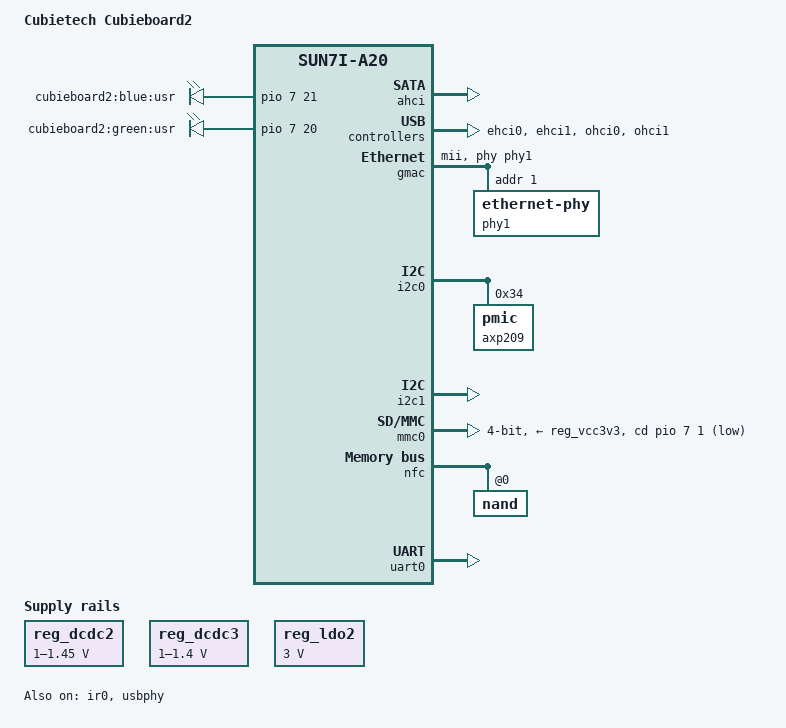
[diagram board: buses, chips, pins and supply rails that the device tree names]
/*
 * Copyright 2013 Maxime Ripard
 *
 * Maxime Ripard <maxime.ripard@free-electrons.com>
 *
 * This file is dual-licensed: you can use it either under the terms
 * of the GPL or the X11 license, at your option. Note that this dual
 * licensing only applies to this file, and not this project as a
 * whole.
 *
 *  a) This file is free software; you can redistribute it and/or
 *     modify it under the terms of the GNU General Public License as
 *     published by the Free Software Foundation; either version 2 of the
 *     License, or (at your option) any later version.
 *
 *     This file is distributed in the hope that it will be useful,
 *     but WITHOUT ANY WARRANTY; without even the implied warranty of
 *     MERCHANTABILITY or FITNESS FOR A PARTICULAR PURPOSE.  See the
 *     GNU General Public License for more details.
 *
 * Or, alternatively,
 *
 *  b) Permission is hereby granted, free of charge, to any person
 *     obtaining a copy of this software and associated documentation
 *     files (the "Software"), to deal in the Software without
 *     restriction, including without limitation the rights to use,
 *     copy, modify, merge, publish, distribute, sublicense, and/or
 *     sell copies of the Software, and to permit persons to whom the
 *     Software is furnished to do so, subject to the following
 *     conditions:
 *
 *     The above copyright notice and this permission notice shall be
 *     included in all copies or substantial portions of the Software.
 *
 *     THE SOFTWARE IS PROVIDED "AS IS", WITHOUT WARRANTY OF ANY KIND,
 *     EXPRESS OR IMPLIED, INCLUDING BUT NOT LIMITED TO THE WARRANTIES
 *     OF MERCHANTABILITY, FITNESS FOR A PARTICULAR PURPOSE AND
 *     NONINFRINGEMENT. IN NO EVENT SHALL THE AUTHORS OR COPYRIGHT
 *     HOLDERS BE LIABLE FOR ANY CLAIM, DAMAGES OR OTHER LIABILITY,
 *     WHETHER IN AN ACTION OF CONTRACT, TORT OR OTHERWISE, ARISING
 *     FROM, OUT OF OR IN CONNECTION WITH THE SOFTWARE OR THE USE OR
 *     OTHER DEALINGS IN THE SOFTWARE.
 */

/dts-v1/;
#include "sun7i-a20.dtsi"
#include "sunxi-common-regulators.dtsi"

#include <dt-bindings/gpio/gpio.h>
#include <dt-bindings/interrupt-controller/irq.h>
#include <dt-bindings/pinctrl/sun4i-a10.h>

/ {
	model = "Cubietech Cubieboard2";
	compatible = "cubietech,cubieboard2", "allwinner,sun7i-a20";

	aliases {
		serial0 = &uart0;
	};

	chosen {
		stdout-path = "serial0:115200n8";
	};

	leds {
		compatible = "gpio-leds";
		pinctrl-names = "default";
		pinctrl-0 = <&led_pins_cubieboard2>;

		blue {
			label = "cubieboard2:blue:usr";
			gpios = <&pio 7 21 GPIO_ACTIVE_HIGH>;
		};

		green {
			label = "cubieboard2:green:usr";
			gpios = <&pio 7 20 GPIO_ACTIVE_HIGH>;
		};
	};
};

&ahci {
	target-supply = <&reg_ahci_5v>;
	status = "okay";
};

&cpu0 {
	cpu-supply = <&reg_dcdc2>;
};

&ehci0 {
	status = "okay";
};

&ehci1 {
	status = "okay";
};

&gmac {
	pinctrl-names = "default";
	pinctrl-0 = <&gmac_pins_mii_a>;
	phy = <&phy1>;
	phy-mode = "mii";
	status = "okay";

	phy1: ethernet-phy@1 {
		reg = <1>;
	};
};

&i2c0 {
	pinctrl-names = "default";
	pinctrl-0 = <&i2c0_pins_a>;
	status = "okay";

	axp209: pmic@34 {
		reg = <0x34>;
		interrupt-parent = <&nmi_intc>;
		interrupts = <0 IRQ_TYPE_LEVEL_LOW>;
	};
};

&i2c1 {
	pinctrl-names = "default";
	pinctrl-0 = <&i2c1_pins_a>;
	status = "okay";
};

&ir0 {
	pinctrl-names = "default";
	pinctrl-0 = <&ir0_rx_pins_a>;
	status = "okay";
};

&mmc0 {
	pinctrl-names = "default";
	pinctrl-0 = <&mmc0_pins_a>, <&mmc0_cd_pin_reference_design>;
	vmmc-supply = <&reg_vcc3v3>;
	bus-width = <4>;
	cd-gpios = <&pio 7 1 GPIO_ACTIVE_HIGH>; /* PH1 */
	cd-inverted;
	status = "okay";
};

&nfc {
	pinctrl-names = "default";
	pinctrl-0 = <&nand_pins_a>, <&nand_cs0_pins_a>, <&nand_rb0_pins_a>;
	status = "okay";

	nand@0 {
		#address-cells = <2>;
		#size-cells = <2>;
		reg = <0>;
		allwinner,rb = <0>;

		nand-ecc-mode = "hw";
		nand-rnd-mode = "hw";
		nand-on-flash-bbt;

		boot0@0 {
			label = "boot0";
			reg = /bits/ 64 <0x0 0x200000>;
			nand-ecc-mode = "hw_syndrome";
			nand-rnd-mode = "hw";
			nand-randomizer-seeds = /bits/ 16 <0x4a80>;
		};

		boot0-rescue@200000 {
			label = "boot0-rescue";
			reg = /bits/ 64 <0x200000 0x200000>;
			nand-ecc-mode = "hw_syndrome";
			nand-rnd-mode = "hw";
			nand-randomizer-seeds = /bits/ 16 <0x4a80>;
		};

		main@200000 {
			label = "main";
			reg = /bits/ 64 <0x400000 0xffc00000>;
			nand-ecc-mode = "hw";
			nand-rnd-mode = "hw";
			nand-randomizer-seeds = /bits/ 16 <
				0x2b75 0x0bd0 0x5ca3 0x62d1 0x1c93 0x07e9 0x2162 0x3a72
				0x0d67 0x67f9 0x1be7 0x077d 0x032f 0x0dac 0x2716 0x2436
				0x7922 0x1510 0x3860 0x5287 0x480f 0x4252 0x1789 0x5a2d
				0x2a49 0x5e10 0x437f 0x4b4e 0x2f45 0x216e 0x5cb7 0x7130
				0x2a3f 0x60e4 0x4dc9 0x0ef0 0x0f52 0x1bb9 0x6211 0x7a56
				0x226d 0x4ea7 0x6f36 0x3692 0x38bf 0x0c62 0x05eb 0x4c55
				0x60f4 0x728c 0x3b6f 0x2037 0x7f69 0x0936 0x651a 0x4ceb
				0x6218 0x79f3 0x383f 0x18d9 0x4f05 0x5c82 0x2912 0x6f17
				0x6856 0x5938 0x1007 0x61ab 0x3e7f 0x57c2 0x542f 0x4f62
				0x7454 0x2eac 0x7739 0x42d4 0x2f90 0x435a 0x2e52 0x2064
				0x637c 0x66ad 0x2c90 0x0bad 0x759c 0x0029 0x0986 0x7126
				0x1ca7 0x1605 0x386a 0x27f5 0x1380 0x6d75 0x24c3 0x0f8e
				0x2b7a 0x1418 0x1fd1 0x7dc1 0x2d8e 0x43af 0x2267 0x7da3
				0x4e3d 0x1338 0x50db 0x454d 0x764d 0x40a3 0x42e6 0x262b
				0x2d2e 0x1aea 0x2e17 0x173d 0x3a6e 0x71bf 0x25f9 0x0a5d
				0x7c57 0x0fbe 0x46ce 0x4939 0x6b17 0x37bb 0x3e91 0x76db>;
		};
	};
};

&ohci0 {
	status = "okay";
};

&ohci1 {
	status = "okay";
};

&pio {
	led_pins_cubieboard2: led_pins@0 {
		allwinner,pins = "PH20", "PH21";
		allwinner,function = "gpio_out";
		allwinner,drive = <SUN4I_PINCTRL_10_MA>;
		allwinner,pull = <SUN4I_PINCTRL_NO_PULL>;
	};
};

&reg_ahci_5v {
	status = "okay";
};

#include "axp209.dtsi"

&reg_dcdc2 {
	regulator-always-on;
	regulator-min-microvolt = <1000000>;
	regulator-max-microvolt = <1450000>;
	regulator-name = "vdd-cpu";
};

&reg_dcdc3 {
	regulator-always-on;
	regulator-min-microvolt = <1000000>;
	regulator-max-microvolt = <1400000>;
	regulator-name = "vdd-int-dll";
};

&reg_ldo1 {
	regulator-name = "vdd-rtc";
};

&reg_ldo2 {
	regulator-always-on;
	regulator-min-microvolt = <3000000>;
	regulator-max-microvolt = <3000000>;
	regulator-name = "avcc";
};

&reg_usb1_vbus {
	status = "okay";
};

&reg_usb2_vbus {
	status = "okay";
};

&uart0 {
	pinctrl-names = "default";
	pinctrl-0 = <&uart0_pins_a>;
	status = "okay";
};

&usbphy {
	usb1_vbus-supply = <&reg_usb1_vbus>;
	usb2_vbus-supply = <&reg_usb2_vbus>;
	status = "okay";
};
